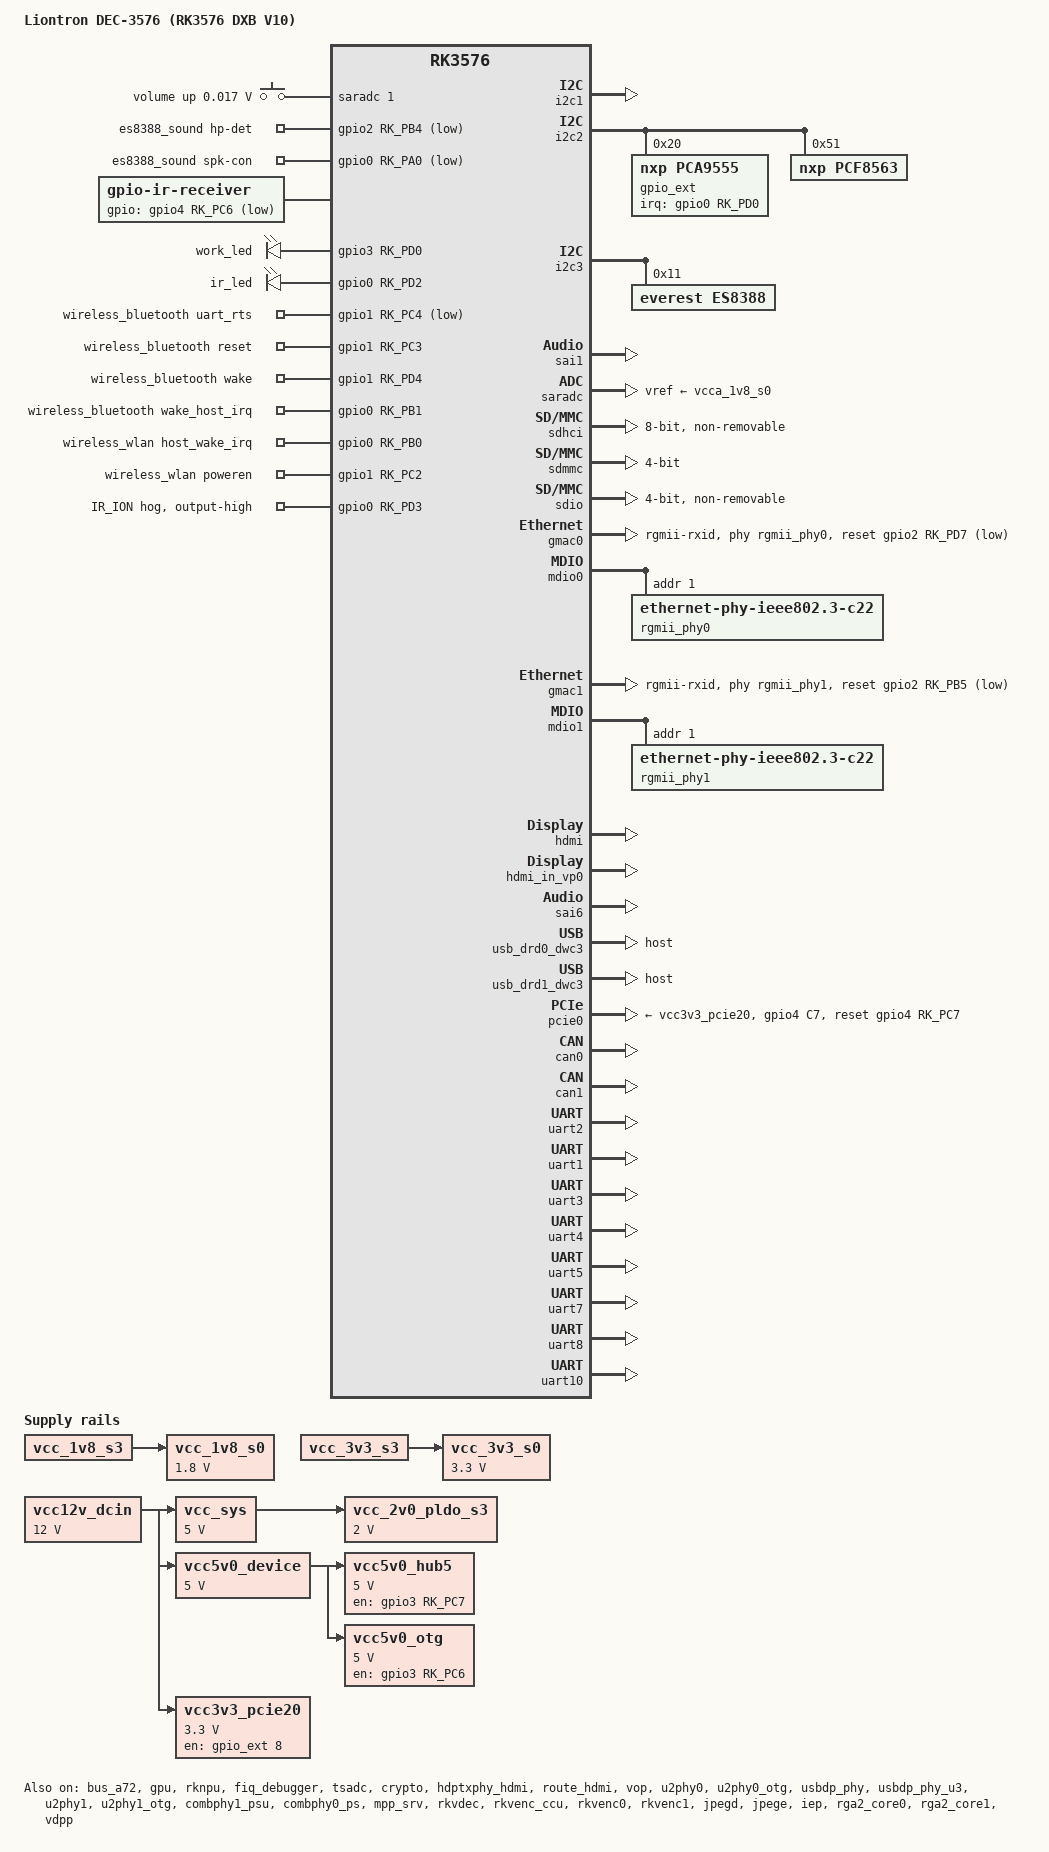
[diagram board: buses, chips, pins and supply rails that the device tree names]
// SPDX-License-Identifier: (GPL-2.0+ OR MIT)
/*
 * Liontron DEC-3576 ("Rockchip RK3576 DXB V10 Board").
 *
 * Board layer ported from the vendor rk3576dt-linux-6.1-rkr6 (2025-11-14)
 * kernel DT. HDMI is the only display: the DP0 -> CS551x -> LVDS chain of
 * the vendor board is left disabled.
 */

/dts-v1/;

#include <dt-bindings/gpio/gpio.h>
#include <dt-bindings/input/rk-input.h>
#include <dt-bindings/pinctrl/rockchip.h>
#include "rk3576.dtsi"
#include "rk3576-rk806.dtsi"
#include "rk3576-linux.dtsi"

/ {
	model = "Liontron DEC-3576 (RK3576 DXB V10)";
	compatible = "liontron,dec-3576", "rockchip,rk3576";

	/* ttyS numbering the application relies on (formerly the uart-remap overlay) */
	aliases {
		serial0 = &uart5;
		serial1 = &uart7;
		serial5 = &uart0;
		serial7 = &uart1;
	};

	adc_keys: adc-keys {
		compatible = "adc-keys";
		io-channels = <&saradc 1>;
		io-channel-names = "buttons";
		keyup-threshold-microvolt = <1800000>;
		poll-interval = <100>;

		vol-up-key {
			label = "volume up";
			linux,code = <KEY_VOLUMEUP>;
			press-threshold-microvolt = <17000>;
		};
	};

	es8388_sound: es8388-sound {
		status = "okay";
		compatible = "rockchip,multicodecs-card";
		rockchip,card-name = "rockchip-es8388";
		hp-det-gpio = <&gpio2 RK_PB4 GPIO_ACTIVE_LOW>;
		spk-con-gpio = <&gpio0 RK_PA0 GPIO_ACTIVE_LOW>;
		rockchip,pre-power-on-delay-ms = <30>;
		rockchip,post-power-down-delay-ms = <40>;
		rockchip,format = "i2s";
		rockchip,mclk-fs = <256>;
		rockchip,cpu = <&sai1>;
		rockchip,codec = <&es8388>;
		rockchip,audio-routing =
			"Headphone", "Headphone Power",
			"Headphone", "Headphone Power",
			"Speaker", "Speaker Power",
			"Speaker", "Speaker Power",
			"LINPUT1", "Main Mic",
			"LINPUT2", "Main Mic",
			"RINPUT1", "Headset Mic",
			"RINPUT2", "Headset Mic";
		pinctrl-names = "default";
		pinctrl-0 = <&hp_det>;
	};

	hdmi_sound: hdmi-sound {
		compatible = "rockchip,hdmi";
		rockchip,mclk-fs = <128>;
		rockchip,card-name = "rockchip-hdmi";
		rockchip,cpu = <&sai6>;
		rockchip,codec = <&hdmi>;
		rockchip,jack-det;
	};

	ir-receiver {
		compatible = "gpio-ir-receiver";
		gpios = <&gpio4 RK_PC6 GPIO_ACTIVE_LOW>;
		pinctrl-names = "default";
		pinctrl-0 = <&irda_rem>;
	};

	leds: leds {
		compatible = "gpio-leds";

		work_led: work {
			gpios = <&gpio3 RK_PD0 GPIO_ACTIVE_HIGH>;
			linux,default-trigger = "heartbeat";
		};

		ir_led: ir {
			gpios = <&gpio0 RK_PD2 GPIO_ACTIVE_HIGH>;
			linux,default-trigger = "rc-feedback";
		};
	};

	vcc12v_dcin: vcc12v-dcin {
		compatible = "regulator-fixed";
		regulator-name = "vcc12v_dcin";
		regulator-always-on;
		regulator-boot-on;
		regulator-min-microvolt = <12000000>;
		regulator-max-microvolt = <12000000>;
	};

	vcc_sys: vcc5v0-sys {
		compatible = "regulator-fixed";
		regulator-name = "vcc_sys";
		regulator-always-on;
		regulator-boot-on;
		regulator-min-microvolt = <5000000>;
		regulator-max-microvolt = <5000000>;
		vin-supply = <&vcc12v_dcin>;
	};

	vcc5v0_device: vcc5v0-device {
		compatible = "regulator-fixed";
		regulator-name = "vcc5v0_device";
		regulator-always-on;
		regulator-boot-on;
		regulator-min-microvolt = <5000000>;
		regulator-max-microvolt = <5000000>;
		vin-supply = <&vcc12v_dcin>;
	};

	vcc_2v0_pldo_s3: vcc-2v0-pldo-s3 {
		compatible = "regulator-fixed";
		regulator-name = "vcc_2v0_pldo_s3";
		regulator-boot-on;
		regulator-always-on;
		regulator-min-microvolt = <2000000>;
		regulator-max-microvolt = <2000000>;
		vin-supply = <&vcc_sys>;
	};

	vcc_1v8_s0: vcc-1v8-s0 {
		compatible = "regulator-fixed";
		regulator-name = "vcc_1v8_s0";
		regulator-boot-on;
		regulator-always-on;
		regulator-min-microvolt = <1800000>;
		regulator-max-microvolt = <1800000>;
		vin-supply = <&vcc_1v8_s3>;
	};

	vcc_3v3_s0: vcc-3v3-s0 {
		compatible = "regulator-fixed";
		regulator-name = "vcc_3v3_s0";
		regulator-boot-on;
		regulator-always-on;
		regulator-min-microvolt = <3300000>;
		regulator-max-microvolt = <3300000>;
		vin-supply = <&vcc_3v3_s3>;
	};

	vcc5v0_hub5: vcc5v0-hub5 {
		compatible = "regulator-fixed";
		regulator-name = "vcc5v0_hub5";
		regulator-boot-on;
		regulator-always-on;
		regulator-min-microvolt = <5000000>;
		regulator-max-microvolt = <5000000>;
		enable-active-high;
		gpio = <&gpio3 RK_PC7 GPIO_ACTIVE_HIGH>;
		vin-supply = <&vcc5v0_device>;
		pinctrl-names = "default";
		pinctrl-0 = <&usb_hub5_pwren>;
	};

	vcc5v0_otg: vcc5v0-otg {
		compatible = "regulator-fixed";
		regulator-name = "vcc5v0_otg";
		regulator-min-microvolt = <5000000>;
		regulator-max-microvolt = <5000000>;
		enable-active-high;
		gpio = <&gpio3 RK_PC6 GPIO_ACTIVE_HIGH>;
		vin-supply = <&vcc5v0_device>;
		pinctrl-names = "default";
		pinctrl-0 = <&usb_otg0_pwren>;
	};

	vcc3v3_pcie20: vcc3v3-pcie20 {
		compatible = "regulator-fixed";
		regulator-name = "vcc3v3_pcie20";
		regulator-min-microvolt = <3300000>;
		regulator-max-microvolt = <3300000>;
		enable-active-high;
		gpios = <&gpio_ext 8 GPIO_ACTIVE_HIGH>;
		startup-delay-us = <5000>;
		vin-supply = <&vcc12v_dcin>;
	};

	wireless_bluetooth: wireless-bluetooth {
		compatible = "bluetooth-platdata";
		bt_port = "/dev/ttyS2";
		uart_rts_gpios = <&gpio1 RK_PC4 GPIO_ACTIVE_LOW>;
		pinctrl-names = "default", "rts_gpio";
		pinctrl-0 = <&uart2m0_rtsn &bt_reset_gpio &bt_wake_gpio &bt_irq_gpio>;
		pinctrl-1 = <&uart2_gpios>;
		BT,reset_gpio = <&gpio1 RK_PC3 GPIO_ACTIVE_HIGH>;
		BT,wake_gpio = <&gpio1 RK_PD4 GPIO_ACTIVE_HIGH>;
		BT,wake_host_irq = <&gpio0 RK_PB1 GPIO_ACTIVE_HIGH>;
		status = "okay";
	};

	/*
	 * AIC8800D80 on SDIO. Power is switched through WIFI,poweren_gpio only,
	 * as in the image that runs on this board today; no mmc-pwrseq, so
	 * GPIO1_C2 has a single owner.
	 */
	wireless_wlan: wireless-wlan {
		compatible = "wlan-platdata";
		wifi_chip_type = "aic8800d80";
		pinctrl-names = "default";
		/* nothing drives WIFI,poweren_gpio for the AIC8800 BSP; the pull-up keeps the module powered */
		pinctrl-0 = <&wifi_host_wake_irq &wifi_poweren_gpio>;
		WIFI,host_wake_irq = <&gpio0 RK_PB0 GPIO_ACTIVE_HIGH>;
		WIFI,poweren_gpio = <&gpio1 RK_PC2 GPIO_ACTIVE_HIGH>;
		status = "okay";
	};
};

&bus_a72 {
	bus-supply = <&vdd_logic_s0>;
	pvtm-supply = <&vdd_logic_s0>;
	status = "okay";
};

&cpu_l0 {
	cpu-supply = <&vdd_cpu_lit_s0>;
};

&cpu_b0 {
	cpu-supply = <&vdd_cpu_big_s0>;
};

&gpu {
	mali-supply = <&vdd_gpu_s0>;
	status = "okay";
};

&rknpu {
	rknpu-supply = <&vdd_npu_s0>;
	status = "okay";
};

&rknpu_mmu {
	status = "okay";
};

/* Debug console: UART0 m0 at 1.5 Mbaud via FIQ debugger (ttyFIQ0) */
&fiq_debugger {
	/* matched against the serialN alias of the UART; uart0 is serial5 above */
	rockchip,serial-id = <5>;
	status = "okay";
};

&uart0 {
	status = "disabled";
};

&i2c1 {
	status = "okay";
};

/* NLDO inputs come from the 2.0 V PLDO rail on this board (vendor DT) */
&rk806 {
	vcc13-supply = <&vcc_2v0_pldo_s3>;
	vcc14-supply = <&vcc_2v0_pldo_s3>;
};

/* RK806 interrupt is consumed as a GPIO0_A6 interrupt, so mux it as GPIO (vendor DT) */
&pmic_pins {
	rockchip,pins =
		<0 RK_PA6 RK_FUNC_GPIO &pcfg_pull_up>,
		<0 RK_PA4 9 &pcfg_pull_none>;
};

&i2c2 {
	status = "okay";

	gpio_ext: gpio@20 {
		compatible = "nxp,pca9555";
		reg = <0x20>;
		interrupt-parent = <&gpio0>;
		interrupts = <RK_PD0 IRQ_TYPE_LEVEL_LOW>;
		gpio-controller;
		#gpio-cells = <2>;
		gpio-line-names =
			"", "", "", "", "", "", "", "",
			"PCIE_3V3_EN", "", "MPCIE_RESET_N", "", "", "", "", "";
	};

	pcf8563: rtc@51 {
		compatible = "nxp,pcf8563";
		reg = <0x51>;
	};
};

&i2c3 {
	status = "okay";

	es8388: audio-codec@11 {
		#sound-dai-cells = <0>;
		compatible = "everest,es8388", "everest,es8323";
		reg = <0x11>;
		clocks = <&mclkout_sai1>;
		clock-names = "mclk";
		assigned-clocks = <&mclkout_sai1>;
		assigned-clock-rates = <12288000>;
		pinctrl-names = "default";
		pinctrl-0 = <&sai1m0_mclk>;
	};
};

&sai1 {
	pinctrl-names = "default";
	pinctrl-0 = <&sai1m0_lrck &sai1m0_sclk &sai1m0_sdi0 &sai1m0_sdo0>;
	status = "okay";
};

&saradc {
	vref-supply = <&vcca_1v8_s0>;
	status = "okay";
};

&tsadc {
	status = "okay";
};

&rockchip_suspend {
	rockchip,sleep-debug-en = <1>;
	rockchip,sleep-io-ret-config = <(0 | RKPM_VCCIO3_RET_EN)>;
	rockchip,regulator-on-before-mem = <&vdd_npu_s0>;
	status = "okay";
};

&crypto {
	status = "okay";
};

&sdhci {
	bus-width = <8>;
	no-sdio;
	no-sd;
	non-removable;
	mmc-hs400-1_8v;
	mmc-hs400-enhanced-strobe;
	full-pwr-cycle-in-suspend;
	status = "okay";
};

&sdmmc {
	no-sdio;
	no-mmc;
	bus-width = <4>;
	cap-mmc-highspeed;
	cap-sd-highspeed;
	disable-wp;
	sd-uhs-sdr104;
	vqmmc-supply = <&vccio_sd_s0>;
	status = "okay";
};

&sdio {
	pinctrl-names = "default";
	pinctrl-0 = <&sdmmc1m0_bus4 &sdmmc1m0_clk &sdmmc1m0_cmd>;
	no-sd;
	no-mmc;
	bus-width = <4>;
	disable-wp;
	cap-sd-highspeed;
	cap-sdio-irq;
	keep-power-in-suspend;
	non-removable;
	rockchip,default-sample-phase = <90>;
	status = "okay";
};

&gmac0 {
	phy-mode = "rgmii-rxid";
	clock_in_out = "output";
	snps,reset-gpio = <&gpio2 RK_PD7 GPIO_ACTIVE_LOW>;
	snps,reset-active-low;
	snps,reset-delays-us = <0 20000 100000>;
	pinctrl-names = "default";
	pinctrl-0 = <&eth0m0_miim &eth0m0_tx_bus2 &eth0m0_rx_bus2
		     &eth0m0_rgmii_clk &eth0m0_rgmii_bus &ethm0_clk0_25m_out>;
	tx_delay = <0x21>;
	phy-handle = <&rgmii_phy0>;
	status = "okay";
};

&mdio0 {
	rgmii_phy0: ethernet-phy@1 {
		compatible = "ethernet-phy-ieee802.3-c22";
		reg = <0x1>;
		clocks = <&cru REFCLKO25M_GMAC0_OUT>;
	};
};

&gmac1 {
	phy-mode = "rgmii-rxid";
	clock_in_out = "output";
	snps,reset-gpio = <&gpio2 RK_PB5 GPIO_ACTIVE_LOW>;
	snps,reset-active-low;
	snps,reset-delays-us = <0 20000 100000>;
	pinctrl-names = "default";
	pinctrl-0 = <&eth1m0_miim &eth1m0_tx_bus2 &eth1m0_rx_bus2
		     &eth1m0_rgmii_clk &eth1m0_rgmii_bus &ethm0_clk1_25m_out>;
	tx_delay = <0x20>;
	phy-handle = <&rgmii_phy1>;
	status = "okay";
};

&mdio1 {
	rgmii_phy1: ethernet-phy@1 {
		compatible = "ethernet-phy-ieee802.3-c22";
		reg = <0x1>;
		clocks = <&cru REFCLKO25M_GMAC1_OUT>;
	};
};

/* HDMI on VP0 (the only display) */
&hdmi {
	enable-gpios = <&gpio4 RK_PC4 GPIO_ACTIVE_HIGH>;
	rockchip,sda-falling-delay-ns = <360>;
	status = "okay";
};

&hdmi_in_vp0 {
	status = "okay";
};

/* HDMI PHY PLL as a VOP dclk source, as in the vendor DT and the image in use today */
&display_subsystem {
	clocks = <&hdptxphy_hdmi>;
	clock-names = "hdmi0_phy_pll";
};

&hdptxphy_hdmi {
	status = "okay";
};

&route_hdmi {
	status = "okay";
};

&sai6 {
	status = "okay";
};

&vop {
	vop-supply = <&vdd_logic_s0>;
	status = "okay";
};

&vop_mmu {
	status = "okay";
};

/* VPLL for VP0 gives exact pixel clocks for non-CEA modes (as in the image in use today) */
&vp0 {
	assigned-clocks = <&cru DCLK_VP0_SRC>;
	assigned-clock-parents = <&cru PLL_VPLL>;
};

/*
 * USB: both controllers are host-only Type-A ports. On the USBDP PHY the
 * vendor routes DP to lanes 0/1 (CS551x bridge, unused here) and USB3 to
 * lanes 2/3.
 */
&u2phy0 {
	status = "okay";
};

&u2phy0_otg {
	phy-supply = <&vcc5v0_otg>;
	status = "okay";
};

&usbdp_phy {
	rockchip,dp-lane-mux = <0 1>;
	status = "okay";
};

&usbdp_phy_u3 {
	status = "okay";
};

&usb_drd0_dwc3 {
	dr_mode = "host";
	status = "okay";
};

&u2phy1 {
	status = "okay";
};

&u2phy1_otg {
	status = "okay";
};

&combphy1_psu {
	status = "okay";
};

&usb_drd1_dwc3 {
	dr_mode = "host";
	status = "okay";
};

/* PCIe 2.0 slot; 3.3 V is switched by line 8 of the PCA9555 */
&combphy0_ps {
	status = "okay";
};

&pcie0 {
	reset-gpios = <&gpio4 RK_PC7 GPIO_ACTIVE_HIGH>;
	vpcie3v3-supply = <&vcc3v3_pcie20>;
	pinctrl-names = "default";
	pinctrl-0 = <&pcie20_rst>;
	status = "okay";
};

&can0 {
	assigned-clocks = <&cru CLK_CAN0>;
	assigned-clock-rates = <200000000>;
	pinctrl-names = "default";
	pinctrl-0 = <&can0m2_pins>;
	status = "okay";
};

&can1 {
	assigned-clocks = <&cru CLK_CAN1>;
	assigned-clock-rates = <200000000>;
	pinctrl-names = "default";
	pinctrl-0 = <&can1m3_pins>;
	status = "okay";
};

/* UART2 carries Bluetooth (ttyS2); RTS is muxed by the wireless-bluetooth node */
&uart2 {
	pinctrl-names = "default";
	pinctrl-0 = <&uart2m0_xfer &uart2m0_ctsn>;
	status = "okay";
};

&uart1 {
	pinctrl-names = "default";
	pinctrl-0 = <&uart1m1_xfer>;
	status = "okay";
};

&uart3 {
	status = "okay";
};

&uart4 {
	pinctrl-names = "default";
	pinctrl-0 = <&uart4m2_xfer>;
	status = "okay";
};

&uart5 {
	pinctrl-names = "default";
	pinctrl-0 = <&uart5m1_xfer>;
	status = "okay";
};

&uart7 {
	status = "okay";
};

&uart8 {
	pinctrl-names = "default";
	pinctrl-0 = <&uart8m1_xfer>;
	status = "okay";
};

&uart10 {
	pinctrl-names = "default";
	pinctrl-0 = <&uart10m2_xfer>;
	status = "okay";
};

/* Video/media blocks, enabled as on the vendor image */
&mpp_srv {
	status = "okay";
};

&rkvdec {
	status = "okay";
};

&rkvdec_mmu {
	status = "okay";
};

&rkvenc_ccu {
	status = "okay";
};

&rkvenc0 {
	status = "okay";
};

&rkvenc0_mmu {
	status = "okay";
};

&rkvenc1 {
	status = "okay";
};

&rkvenc1_mmu {
	status = "okay";
};

&jpegd {
	status = "okay";
};

&jpege {
	status = "okay";
};

&jpeg_mmu {
	status = "okay";
};

&iep {
	status = "okay";
};

&iep_mmu {
	status = "okay";
};

&rga2_core0 {
	status = "okay";
};

&rga2_core0_mmu {
	status = "okay";
};

&rga2_core1 {
	status = "okay";
};

&rga2_core1_mmu {
	status = "okay";
};

&vdpp {
	status = "okay";
};

&gpio0 {
	/* IR receiver supply enable (vendor "irda-ion"); polarity to be confirmed on the schematic */
	ir-ion-hog {
		gpio-hog;
		gpios = <RK_PD3 GPIO_ACTIVE_HIGH>;
		output-high;
		line-name = "IR_ION";
	};
};

/*
 * Lines without a kernel consumer, named for userspace (libgpiod):
 *   GPIO3_C4  MPCIE_PWR   4G mPCIe module power (vendor "mpcie-power")
 *   GPIO4_B2  POWER_HOLD  board power latch (vendor "power-hold"); the
 *                         vendor drops it at power-off, see the porting plan
 */
&gpio3 {
	gpio-line-names =
		/* GPIO3_A0-A7 */
		"", "", "", "", "", "", "", "",
		/* GPIO3_B0-B7 */
		"", "", "", "", "", "", "", "",
		/* GPIO3_C0-C7 */
		"", "", "", "", "MPCIE_PWR", "", "", "",
		/* GPIO3_D0-D7 */
		"", "", "", "", "", "", "", "";
};

&gpio4 {
	gpio-line-names =
		/* GPIO4_A0-A7 */
		"", "", "", "", "", "", "", "",
		/* GPIO4_B0-B7 */
		"", "", "POWER_HOLD", "", "", "", "", "",
		/* GPIO4_C0-C7 */
		"", "", "", "", "", "", "", "",
		/* GPIO4_D0-D7 */
		"", "", "", "", "", "", "", "";
};

&pinctrl {
	headphone {
		hp_det: hp-det {
			rockchip,pins = <2 RK_PB4 RK_FUNC_GPIO &pcfg_pull_none>;
		};
	};

	irda-ctl {
		irda_rem: irda-rem {
			rockchip,pins = <4 RK_PC6 RK_FUNC_GPIO &pcfg_pull_none>;
		};
	};

	pcie20 {
		pcie20_rst: pcie20-rst {
			rockchip,pins = <4 RK_PC7 RK_FUNC_GPIO &pcfg_pull_none>;
		};
	};

	usb {
		usb_hub5_pwren: usb-hub5-pwren {
			rockchip,pins = <3 RK_PC7 RK_FUNC_GPIO &pcfg_pull_none>;
		};

		usb_otg0_pwren: usb-otg0-pwren {
			rockchip,pins = <3 RK_PC6 RK_FUNC_GPIO &pcfg_pull_none>;
		};
	};

	wireless-bluetooth {
		bt_irq_gpio: bt-irq-gpio {
			rockchip,pins = <0 RK_PB1 RK_FUNC_GPIO &pcfg_pull_down>;
		};

		bt_reset_gpio: bt-reset-gpio {
			rockchip,pins = <1 RK_PC3 RK_FUNC_GPIO &pcfg_pull_none>;
		};

		bt_wake_gpio: bt-wake-gpio {
			rockchip,pins = <1 RK_PD4 RK_FUNC_GPIO &pcfg_pull_none>;
		};

		uart2_gpios: uart2-gpios {
			rockchip,pins = <1 RK_PC4 RK_FUNC_GPIO &pcfg_pull_none>;
		};
	};

	wireless-wlan {
		wifi_host_wake_irq: wifi-host-wake-irq {
			rockchip,pins = <0 RK_PB0 RK_FUNC_GPIO &pcfg_pull_down>;
		};

		wifi_poweren_gpio: wifi-poweren-gpio {
			rockchip,pins = <1 RK_PC2 RK_FUNC_GPIO &pcfg_pull_up>;
		};
	};
};
